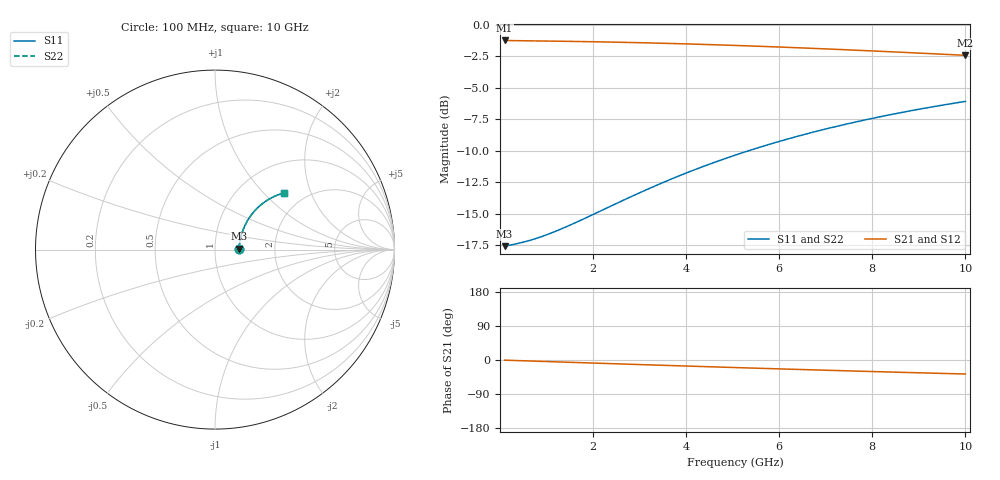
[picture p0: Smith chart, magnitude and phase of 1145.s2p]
# Hz S RI R 50.00
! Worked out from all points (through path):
!   100 points, 100 MHz to 10 GHz, reference 50 ohm
!   highest |S21| = -1.23 dB at 100 MHz (marker M1); lowest = -2.4 dB at 10 GHz (marker M2)
!   group delay of S21, straight-line fit = 10.3 ps
!   lowest |S11| = -17.6 dB at 100 MHz (marker M3), VSWR 1.31, Z = 65.2 + j0.635 ohm
!   |S11| at or under -10 dB: start of sweep to 5.332 GHz
!   |S22| runs from -17.6 to -6.1 dB; largest |S21 - S12| = 0
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1e8  0.1323 0.00478  0.8677 -0.00616  0.8677 -0.00616  0.1323 0.00478
5e8  0.1352 0.0237  0.8647 -0.0306  0.8647 -0.0306  0.1352 0.0237
7e8  0.1367 0.0331  0.8633 -0.0428  0.8633 -0.0428  0.1367 0.0331
9e8  0.1382 0.0425  0.8617 -0.0549  0.8617 -0.0549  0.1382 0.0425
1.1e9  0.14 0.0518  0.8599 -0.067  0.8599 -0.067  0.14 0.0518
1.3e9  0.142 0.061  0.8578 -0.079  0.8578 -0.079  0.142 0.061
1.8e9  0.1479 0.0837  0.8518 -0.1086  0.8518 -0.1086  0.1479 0.0837
2.6e9  0.1602 0.1188  0.8391 -0.1548  0.8391 -0.1548  0.1602 0.1188
3e9  0.1676 0.1356  0.8314 -0.1771  0.8314 -0.1771  0.1676 0.1356
3.4e9  0.1759 0.1519  0.8229 -0.199  0.8229 -0.199  0.1759 0.1519
3.8e9  0.185 0.1675  0.8135 -0.2202  0.8135 -0.2202  0.185 0.1675
4.2e9  0.1948 0.1826  0.8034 -0.2408  0.8034 -0.2408  0.1948 0.1826
4.6e9  0.2052 0.1969  0.7925 -0.2607  0.7925 -0.2607  0.2052 0.1969
5.1e9  0.2192 0.2138  0.7781 -0.2846  0.7781 -0.2846  0.2192 0.2138
5.5e9  0.231 0.2265  0.7659 -0.3029  0.7659 -0.3029  0.231 0.2265
5.9e9  0.2433 0.2384  0.7531 -0.3204  0.7531 -0.3204  0.2433 0.2384
6.3e9  0.256 0.2495  0.7399 -0.3371  0.7399 -0.3371  0.256 0.2495
6.7e9  0.2691 0.2598  0.7262 -0.3531  0.7262 -0.3531  0.2691 0.2598
7.5e9  0.2961 0.2781  0.698 -0.3826  0.698 -0.3826  0.2961 0.2781
8.4e9  0.3276 0.2949  0.665 -0.4121  0.665 -0.4121  0.3276 0.2949
9.2e9  0.3559 0.3065  0.6352 -0.4352  0.6352 -0.4352  0.3559 0.3065
1e10  0.3843 0.3153  0.6052 -0.4554  0.6052 -0.4554  0.3843 0.3153
